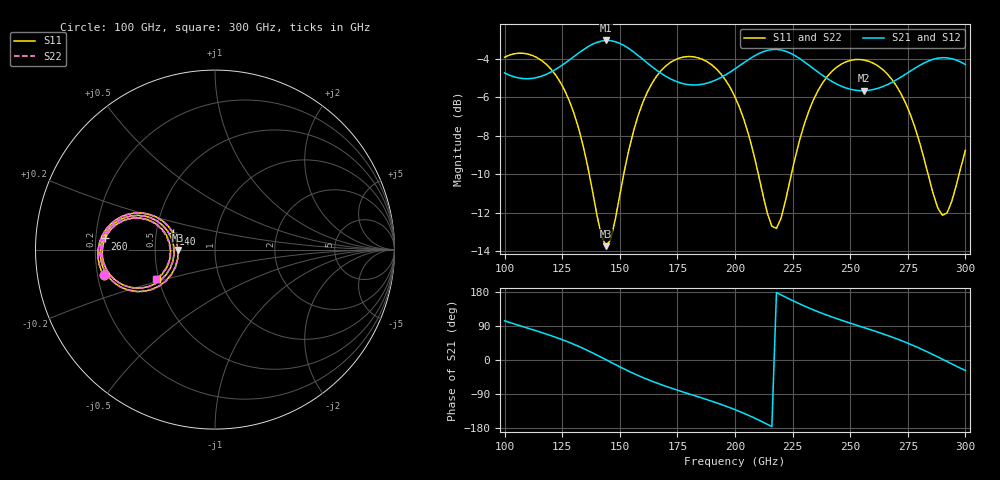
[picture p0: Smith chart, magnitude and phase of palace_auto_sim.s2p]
#  GHZ S DB R 50
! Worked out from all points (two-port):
!   101 points, 100 GHz to 300 GHz, reference 50 ohm
!   highest |S21| = -3.04 dB at 144 GHz (marker M1); lowest = -5.7 dB at 256 GHz (marker M2)
!   |S21| within 3 dB of the highest: start of sweep to end of sweep
!   lowest |S11| = -13.7 dB at 144 GHz (marker M3), VSWR 1.52, Z = 33 - j0.0912 ohm
!   |S11| at or under -10 dB: 136.7 GHz to 151.7 GHz (14.99 GHz wide, 10.4 % of centre); 210.2 GHz to 224.5 GHz (14.32 GHz wide, 6.59 % of centre); 283.8 GHz to 297.3 GHz (13.48 GHz wide, 4.64 % of centre)
!   |S22| runs from -13.8 to -3.7 dB; largest |S21 - S12| = 7.4e-14
!   S11 on the Smith chart (normalised r, x): 100 GHz: 0.22, -0.11; 140 GHz: 0.61, +0.12; 260 GHz: 0.24, +0.05; 300 GHz: 0.49, -0.18
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100  -3.92 -167.1  -4.73 103.4  -4.73 103.4  -3.92 -167.1
116  -4.08 171.0  -4.90 72.7  -4.90 72.7  -4.08 171.0
126  -5.62 157.9  -4.24 51.3  -4.24 51.3  -5.62 157.9
134  -8.48 151.0  -3.54 30.9  -3.54 30.9  -8.49 150.9
140  -12.08 158.7  -3.14 13.3  -3.14 13.3  -12.10 158.7
144  -13.74 -179.6  -3.04 0.8  -3.04 0.8  -13.78 -179.6
150  -11.08 -150.4  -3.19 -18.0  -3.19 -18.0  -11.10 -150.2
156  -7.73 -147.6  -3.64 -35.6  -3.64 -35.6  -7.74 -147.5
168  -4.60 -161.5  -4.76 -65.1  -4.76 -65.1  -4.60 -161.4
184  -3.94 177.5  -5.35 -97.1  -5.35 -97.1  -3.94 177.7
200  -5.98 158.0  -4.52 -131.0  -4.52 -131.0  -5.98 158.1
208  -8.89 153.7  -3.88 -151.9  -3.88 -151.9  -8.88 153.9
218  -12.82 -174.6  -3.51 178.1  -3.51 178.1  -12.79 -174.5
226  -9.20 -150.7  -3.83 153.9  -3.83 153.9  -9.18 -150.7
234  -6.15 -154.2  -4.50 132.3  -4.50 132.3  -6.14 -154.2
246  -4.28 -168.6  -5.41 105.4  -5.41 105.4  -4.28 -168.5
256  -4.06 179.0  -5.66 85.5  -5.66 85.5  -4.05 179.2
260  -4.22 174.2  -5.60 77.5  -5.60 77.5  -4.22 174.3
268  -5.05 164.8  -5.23 60.8  -5.23 60.8  -5.04 164.9
280  -8.30 155.9  -4.35 31.3  -4.35 31.3  -8.27 156.2
290  -12.14 179.0  -3.94 2.0  -3.94 2.0  -12.04 179.1
300  -8.76 -153.1  -4.29 -27.7  -4.29 -27.7  -8.72 -153.4
